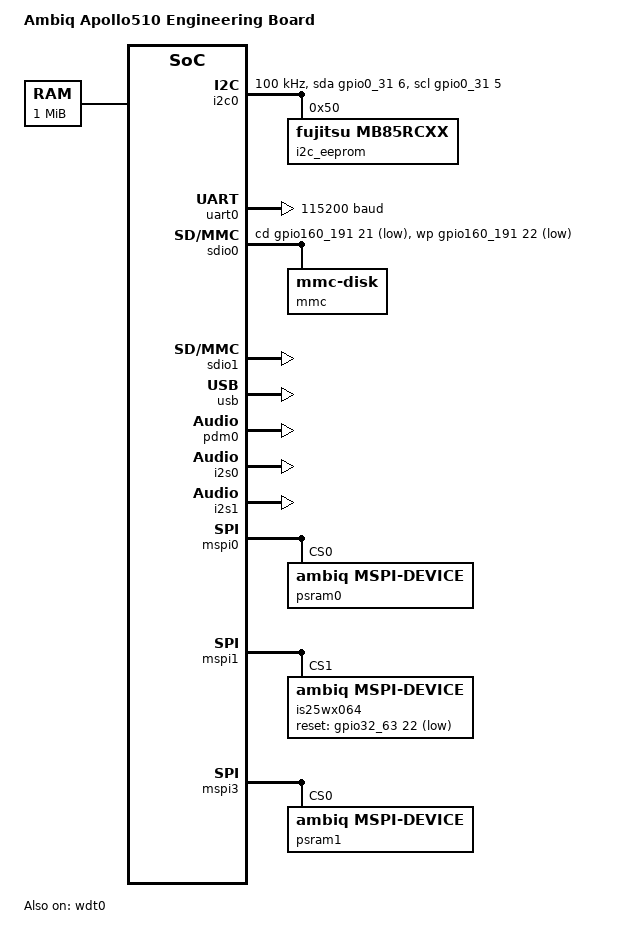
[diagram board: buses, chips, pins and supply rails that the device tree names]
/dts-v1/;
#include <ambiq/ambiq_apollo510.dtsi>
#include "apollo510_eb-pinctrl.dtsi"

/ {
	model = "Ambiq Apollo510 Engineering Board";
	compatible = "ambiq,apollo510_eb";

	chosen {
		zephyr,itcm = &itcm;
		zephyr,dtcm = &dtcm;
		zephyr,sram = &sram0;
		zephyr,flash = &flash0;
		zephyr,console = &uart0;
		zephyr,shell-uart = &uart0;
		zephyr,uart-pipe = &uart0;
		ambiq,xo32m = &xo32m_xtal;
		ambiq,xo32k = &xo32k_xtal;
		ambiq,extrefclk = &extrefclk;
	};

	aliases {
		watchdog0 = &wdt0;
		rtc = &rtc0;
		sdhc0 = &sdio0;
		sdhc1 = &sdio1;
		eeprom-0 = &i2c_eeprom;
	};

	sram0: memory@SSRAM_BASE_NAME {
		compatible = "mmio-sram";
		reg = <SSRAM_BASE_ADDR 0x200000>;
	};

	sram_no_cache: memory@20280000 {
		compatible = "zephyr,memory-region", "mmio-sram";
		reg = <0x20280000 0x100000>;
		zephyr,memory-region = "SRAM_NO_CACHE";
		zephyr,memory-attr = <( DT_MEM_ARM(ATTR_MPU_RAM_NOCACHE) )>;
	};

	regulator_mspi1_device: regulator-mspi1-device-pwr {
		compatible = "regulator-fixed";
		regulator-name = "mspi1 device power";
		enable-gpios = <&gpio192_223 16 GPIO_ACTIVE_HIGH>;
		status = "disabled";
	};

	regulator_mspi2_device: regulator-mspi2-device-pwr {
		compatible = "regulator-fixed";
		regulator-name = "mspi2 device power";
		enable-gpios = <&gpio0_31 11 GPIO_ACTIVE_HIGH>;
		status = "disabled";
	};
};

&timer0 {
	counter0: counter {
		status = "okay";
	};
};

&itm {
	pinctrl-0 = <&swo_default>;
	pinctrl-names = "default";
};

&iom0 {
	cmdq-buffer-location = "SRAM_NO_CACHE";
	cmdq-buffer-size = <256>;

	i2c0: i2c {
		pinctrl-0 = <&i2c0_default>;
		pinctrl-names = "default";
		clock-frequency = <I2C_BITRATE_STANDARD>;
		scl-gpios = <&gpio0_31 5 (GPIO_OPEN_DRAIN | GPIO_PULL_UP)>;
		sda-gpios = <&gpio0_31 6 (GPIO_OPEN_DRAIN | GPIO_PULL_UP)>;
		status = "okay";
		i2c_eeprom: eeprom@50 {
			compatible = "fujitsu,mb85rcxx";
			reg = <0x50>;
			size = <DT_SIZE_K(128)>;
			address-width = <16>;
		};
	};
};

&uart0 {
	current-speed = <115200>;
	pinctrl-0 = <&uart0_default>;
	pinctrl-names = "default";
	status = "okay";
};

&stimer0 {
	clk-source = <3>;
};

&wdt0 {
	status = "okay";
};

&sdio0 {
	pinctrl-0 = <&sdio0_default>;
	pinctrl-names = "default";
	txdelay = <0>;
	rxdelay = <0>;
	cd-gpios = <&gpio160_191 21 GPIO_ACTIVE_LOW>;
	wp-gpios = <&gpio160_191 22 GPIO_ACTIVE_LOW>;
	status = "okay";
	mmc {
		compatible = "zephyr,mmc-disk";
	disk-name = "SD2";
		status = "okay";
	};
};

&sdio1 {
	pinctrl-0 = <&sdio1_default>;
	pinctrl-names = "default";
	txdelay = <9>;
	rxdelay = <11>;
	status = "okay";
};

zephyr_udc0: &usb {
	vddusb33-gpios = <&gpio64_95 27 (GPIO_PULL_UP)>;
	vddusb0p9-gpios = <&gpio64_95 26 (GPIO_PULL_UP)>;
	status = "okay";
};

&pdm0 {
	pinctrl-0 = <&pdm0_default>;
	pinctrl-names = "default";
	status = "okay";
};

&i2s0 {
	pinctrl-0 = <&i2s0_default>;
	pinctrl-names = "default";
	status = "okay";
};

&i2s1 {
	pinctrl-0 = <&i2s1_default>;
	pinctrl-names = "default";
	status = "okay";
};

&mspi0 {
	pinctrl-0 = <&mspi0_default>;
	pinctrl-1 = <&mspi0_sleep>;
	pinctrl-2 = <&mspi0_psram>;
	pinctrl-names = "default","sleep","psram";
	status = "okay";
	zephyr,pm-device-runtime-auto;

	ce-gpios = <&gpio192_223 7 GPIO_ACTIVE_LOW>;

	cmdq-buffer-location = "SRAM_NO_CACHE";
	cmdq-buffer-size = <256>;

	ambiq,apmemory;

	dqs-support;

	psram0: aps25616n@0 {
		compatible = "ambiq,mspi-device", "mspi-aps-z8";
		size = <DT_SIZE_M(256)>;
		reg = <0>;
		status = "okay";
		mspi-max-frequency = <125000000>;
		mspi-io-mode = "MSPI_IO_MODE_HEX_8_8_16";
		mspi-data-rate = "MSPI_DATA_RATE_S_D_D";
		mspi-hardware-ce-num = <0>;
		mspi-dqs-enable;
		read-command = <0x20>;
		write-command = <0xA0>;
		command-length = "INSTR_1_BYTE";
		address-length = "ADDR_4_BYTE";
		rx-dummy = <5>;
		tx-dummy = <5>;
		xip-config = <1 0 DT_SIZE_M(32) 0>;
		ce-break-config = <1024 4>;
		ambiq,timing-config-mask = <0x62>;
		ambiq,timing-config = <5 5 1 0 0 3 10>;
		zephyr,pm-device-runtime-auto;
	};
};

&mspi1 {
	pinctrl-0 = <&mspi1_default>;
	pinctrl-1 = <&mspi1_sleep>;
	pinctrl-2 = <&mspi1_psram>;
	pinctrl-3 = <&mspi1_flash>;
	pinctrl-names = "default","sleep","psram","flash";
	status = "okay";
	zephyr,pm-device-runtime-auto;

	ce-gpios = <&gpio32_63 21 GPIO_ACTIVE_LOW>,
		   <&gpio32_63 21 GPIO_ACTIVE_LOW>;

	cmdq-buffer-location = "SRAM_NO_CACHE";
	cmdq-buffer-size = <256>;

	dqs-support;

	aps6404l: aps6404l@0 {
		compatible = "ambiq,mspi-device", "mspi-aps6404l";
		size = <DT_SIZE_M(64)>;
		reg = <0>;
		status = "disabled";
		mspi-max-frequency = <48000000>;
		mspi-io-mode = "MSPI_IO_MODE_QUAD";
		mspi-data-rate = "MSPI_DATA_RATE_SINGLE";
		mspi-hardware-ce-num = <0>;
		read-command = <0xEB>;
		write-command = <0x38>;
		command-length = "INSTR_1_BYTE";
		address-length = "ADDR_3_BYTE";
		rx-dummy = <6>;
		tx-dummy = <0>;
		xip-config = <1 0 DT_SIZE_M(8) 0>;
		ce-break-config = <1024 3>;
		ambiq,timing-config-mask = <0x62>;
		ambiq,timing-config = <0 6 1 0 0 0 16>;
	};

	is25wx064: is25wx064@1 {
		compatible = "ambiq,mspi-device", "mspi-is25xX0xx";
		size = <DT_SIZE_M(64)>;
		reg = <1>;
		status = "okay";
		mspi-max-frequency = <96000000>;
		mspi-io-mode = "MSPI_IO_MODE_OCTAL_1_8_8";
		mspi-data-rate = "MSPI_DATA_RATE_SINGLE";
		mspi-dqs-enable;
		mspi-hardware-ce-num = <0>;
		read-command = <0xCC>;
		write-command = <0x8E>;
		command-length = "INSTR_1_BYTE";
		address-length = "ADDR_4_BYTE"; /* Avoid use of 3 byte address if Ambiq MSPI */
		rx-dummy = <16>;
		tx-dummy = <0>;
		xip-config = <1 0 DT_SIZE_M(8) 0>;
		ce-break-config = <0 0>;
		ambiq,timing-config-mask = <0x62>;
		ambiq,timing-config = <0 16 1 0 0 5 23>;
		reset-gpios = <&gpio32_63 22 GPIO_ACTIVE_LOW>;
		t-reset-pulse = <10000>; /* min tSHRH */
		t-reset-recovery = <1000000>; /* max tSE */
	};
};

&mspi3 {
	pinctrl-0 = <&mspi3_default>;
	pinctrl-1 = <&mspi3_sleep>;
	pinctrl-2 = <&mspi3_psram>;
	pinctrl-names = "default","sleep","psram";
	status = "okay";
	zephyr,pm-device-runtime-auto;

	ce-gpios = <&gpio96_127 18 GPIO_ACTIVE_LOW>;

	cmdq-buffer-location = "SRAM_NO_CACHE";
	cmdq-buffer-size = <256>;

	ambiq,apmemory;

	dqs-support;

	psram1: aps25616n@0 {
		compatible = "ambiq,mspi-device", "mspi-aps-z8";
		size = <DT_SIZE_M(256)>;
		reg = <0>;
		status = "okay";
		mspi-max-frequency = <125000000>;
		mspi-io-mode = "MSPI_IO_MODE_HEX_8_8_16";
		mspi-data-rate = "MSPI_DATA_RATE_S_D_D";
		mspi-hardware-ce-num = <0>;
		mspi-dqs-enable;
		read-command = <0x20>;
		write-command = <0xA0>;
		command-length = "INSTR_1_BYTE";
		address-length = "ADDR_4_BYTE";
		rx-dummy = <5>;
		tx-dummy = <5>;
		xip-config = <1 0 DT_SIZE_M(32) 0>;
		ce-break-config = <1024 4>;
		ambiq,timing-config-mask = <0x62>;
		ambiq,timing-config = <5 5 1 0 0 3 10>;
		zephyr,pm-device-runtime-auto;
	};
};

&gpio64_95 {
	status = "okay";
};

&gpio0_31 {
	status = "okay";
};

&gpio32_63 {
	status = "okay";
};

&gpio96_127 {
	status = "okay";
};

&gpio160_191 {
	status = "okay";
};

&gpio192_223 {
	status = "okay";
};
